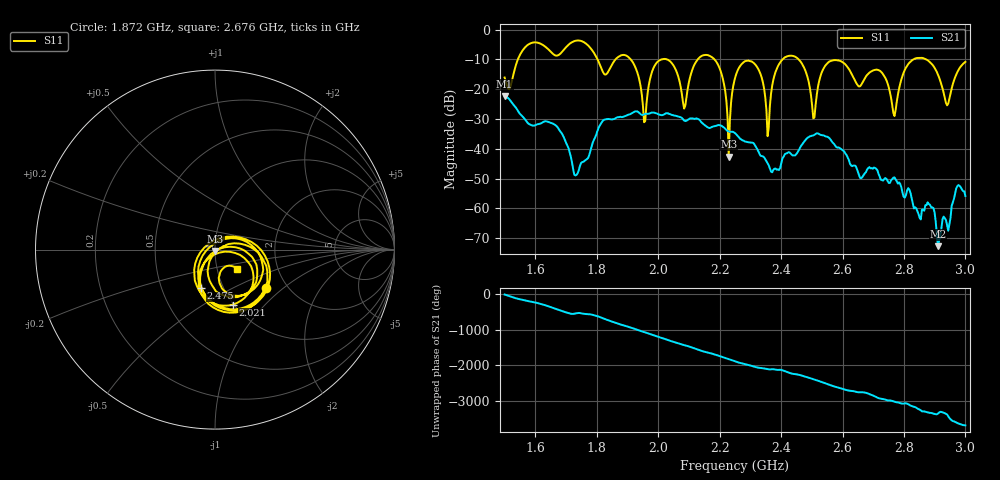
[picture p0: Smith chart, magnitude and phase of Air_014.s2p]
# HZ S RI R 50
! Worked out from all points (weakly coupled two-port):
!   404 points, 1.5 GHz to 3 GHz, reference 50 ohm
!   highest |S21| = -22.44 dB at 1.5 GHz (marker M1); lowest = -72.7 dB at 2.911 GHz (marker M2)
!   lowest |S11| = -42.6 dB at 2.23 GHz (marker M3), VSWR 1.01, Z = 50.2 - j0.721 ohm
!   |S11| at or under -10 dB: 2.183 GHz to 2.405 GHz (221.7 MHz wide, 9.66 % of centre); 2.457 GHz to 2.831 GHz (373.3 MHz wide, 14.1 % of centre); 2.872 GHz to end of sweep (the widest 3 of 7)
!   S12 and S22 are empty: the file has one direction only
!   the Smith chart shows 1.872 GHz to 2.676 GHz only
!   S11 on the Smith chart (normalised r, x): 1.872 GHz: 1.57, -0.76; 2.021 GHz: 1.00, -0.68; 2.475 GHz: 0.79, -0.36; 2.676 GHz: 1.24, -0.28
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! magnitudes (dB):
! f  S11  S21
! 1.5 GHz  -16.1  -22.4
! 1.582 GHz  -4.7  -31.8
! 1.753 GHz  -4.0  -44.5
! 1.872 GHz  -9.0  -29.4
! 1.954 GHz  -31.1  -28.4
! 2.002 GHz  -10.4  -28.5
! 2.021 GHz  -9.8  -28.4
! 2.084 GHz  -26.5  -30.5
! 2.181 GHz  -9.8  -32.4
! 2.23 GHz  -42.6  -34.2
! 2.252 GHz  -15.6  -34.9
! 2.315 GHz  -11.6  -38.8
! 2.356 GHz  -35.8  -44.9
! 2.401 GHz  -10.5  -44.7
! 2.475 GHz  -12.8  -37.6
! 2.501 GHz  -25.7  -35.6
! 2.561 GHz  -10.6  -36.9
! 2.676 GHz  -15.7  -47.8
! 2.751 GHz  -19.4  -51.5
! 2.911 GHz  -15.1  -72.7
! 2.94 GHz  -25.4  -65.7
! 3 GHz  -10.8  -55.8
